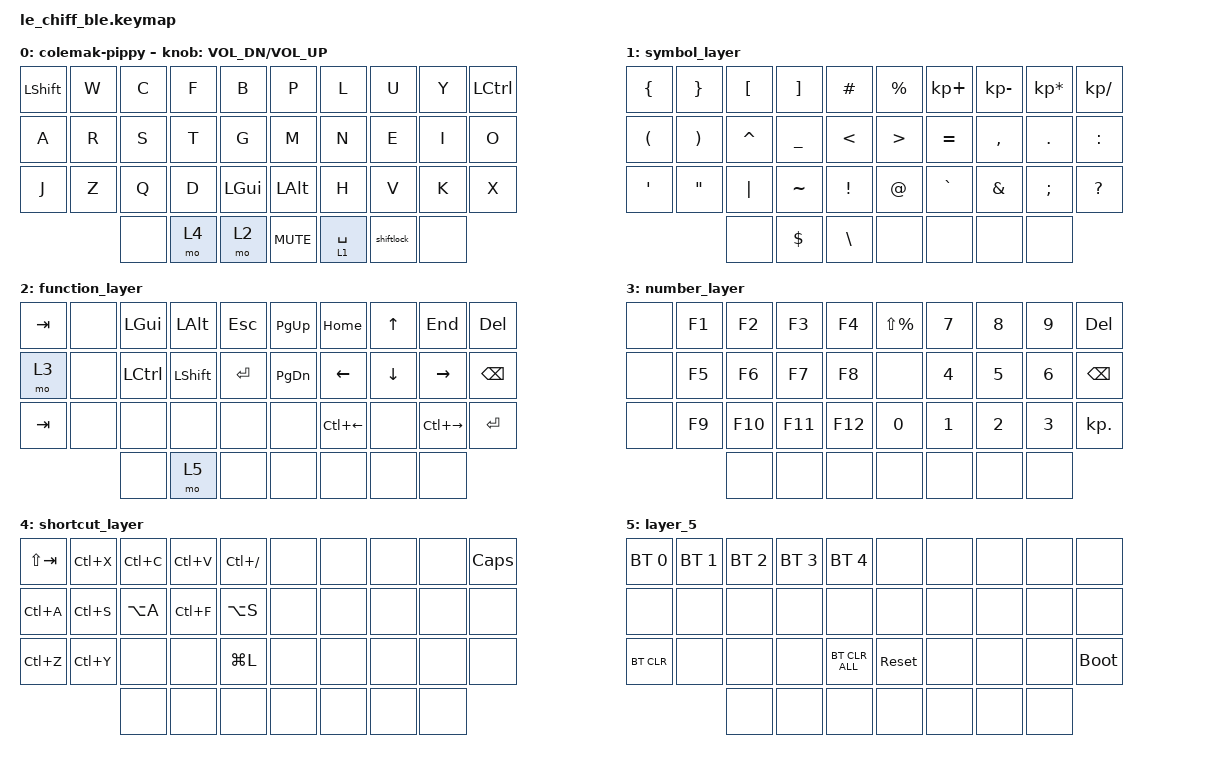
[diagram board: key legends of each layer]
/*
 * Copyright (c) 2021 @MangoIV
 *
 * SPDX-License-Identifier: MIT
 */

#include <behaviors.dtsi>
#include <dt-bindings/zmk/bt.h>
#include <dt-bindings/zmk/keys.h>

// makes it possible to hold backspace

&lt { quick_tap_ms = <200>; };

/ {
    combos {
        compatible = "zmk,combos";

        esc {
            bindings = <&kp ESCAPE>;
            key-positions = <10 11 12 13>;
        };

        alt_f4 {
            bindings = <&kp LA(F4)>;
            key-positions = <1 2 3 4>;
        };

        win_D {
            bindings = <&kp LG(D)>;
            key-positions = <20 22 21 23>;
        };

        enter {
            bindings = <&kp ENTER>;
            key-positions = <16 17 19 18>;
        };
    };

    behaviors {
        hm: homerow_mods {
            compatible = "zmk,behavior-hold-tap";
            label = "homerow_mods";
            bindings = <&kp>, <&kp>;

            #binding-cells = <2>;
            flavor = "tap-preferred";
            tapping-term-ms = <200>;
        };

        pplt: pplt {
            compatible = "zmk,behavior-hold-tap";
            label = "PPLT";
            bindings = <&mo>, <&kp>;

            #binding-cells = <2>;
            tapping-term-ms = <5000>;
            hold-while-undecided;
        };

        tui: tui {
            compatible = "zmk,behavior-hold-tap";
            label = "TUI";
            bindings = <&kp>, <&kp>;

            #binding-cells = <2>;
            tapping-term-ms = <5000>;
            flavor = "tap-unless-interrupted";
        };

        shiftlock: shiftlock {
            compatible = "zmk,behavior-tap-dance";
            label = "SHIFTLOCK";
            #binding-cells = <0>;
            bindings = <&kp LEFT_SHIFT>, <&kp CAPSLOCK>;

            tapping-term-ms = <200>;
        };
    };

    keymap {
        compatible = "zmk,keymap";

        default {
            label = "colemak-pippy";
            bindings = <
&kp LSHFT  &kp W  &kp C  &kp F  &kp B     &kp P       &kp L          &kp U       &kp Y  &kp LCTRL
&kp A      &kp R  &kp S  &kp T  &kp G     &kp M       &kp N          &kp E       &kp I  &kp O
&kp J      &kp Z  &kp Q  &kp D  &kp LGUI  &kp LALT    &kp H          &kp V       &kp K  &kp X
                  &none  &mo 4  &mo 2     &kp C_MUTE  &pplt 1 SPACE  &shiftlock  &none
            >;

            sensor-bindings = <&inc_dec_kp C_VOL_DN C_VOL_UP>;
        };

        symbol_layer {
            bindings = <
&kp LEFT_BRACE        &kp RIGHT_BRACE        &kp LBKT   &kp RBKT        &kp POUND        &kp PERCENT       &kp KP_PLUS  &kp KP_MINUS   &kp KP_MULTIPLY  &kp KP_DIVIDE
&kp LEFT_PARENTHESIS  &kp RIGHT_PARENTHESIS  &kp CARET  &kp UNDERSCORE  &kp LESS_THAN    &kp GREATER_THAN  &kp EQUAL    &kp COMMA      &kp DOT          &kp COLON
&kp SQT               &kp DOUBLE_QUOTES      &kp PIPE   &kp TILDE       &kp EXCLAMATION  &kp AT            &kp GRAVE    &kp AMPERSAND  &kp SEMI         &kp QUESTION
                                             &none      &kp DOLLAR      &kp BACKSLASH    &none             &none        &none          &none
            >;
        };

        function_layer {
            bindings = <
&kp TAB  &none  &kp LGUI   &kp LALT   &kp ESC  &kp PG_UP  &kp HOME      &kp UP    &kp END        &kp DEL
&mo 3    &none  &kp LCTRL  &kp LSHFT  &kp RET  &kp PG_DN  &kp LEFT      &kp DOWN  &kp RIGHT      &kp BSPC
&kp TAB  &none  &none      &none      &none    &none      &kp LC(LEFT)  &none     &kp LC(RIGHT)  &kp RET
                &none      &mo 5      &none    &none      &none         &none     &none
            >;
        };

        number_layer {
            bindings = <
&none  &kp F1  &kp F2   &kp F3   &kp F4   &kp LS(PRCNT)  &kp N7  &kp N8  &kp N9  &kp DEL
&none  &kp F5  &kp F6   &kp F7   &kp F8   &none          &kp N4  &kp N5  &kp N6  &kp BSPC
&none  &kp F9  &kp F10  &kp F11  &kp F12  &kp N0         &kp N1  &kp N2  &kp N3  &kp KP_DOT
               &none    &none    &none    &none          &none   &none   &none
            >;
        };

        shortcut_layer {
            bindings = <
&kp LS(TAB)  &kp LC(X)  &kp LC(C)  &kp LC(V)  &kp LC(FSLH)  &none  &none  &none  &none  &kp CAPSLOCK
&kp LC(A)    &kp LC(S)  &kp LA(A)  &kp LC(F)  &kp LA(S)     &none  &none  &none  &none  &none
&kp LC(Z)    &kp LC(Y)  &none      &none      &kp LG(L)     &none  &none  &none  &none  &none
                        &none      &none      &none         &none  &none  &none  &none
            >;
        };

        layer_5 {
            bindings = <
&bt BT_SEL 0  &bt BT_SEL 1  &bt BT_SEL 2  &bt BT_SEL 3  &bt BT_SEL 4    &none       &none  &none  &none  &none
&none         &none         &none         &none         &none           &none       &none  &none  &none  &none
&bt BT_CLR    &none         &none         &none         &bt BT_CLR_ALL  &sys_reset  &none  &none  &none  &bootloader
                            &none         &none         &none           &none       &none  &none  &none
            >;
        };
    };
};
